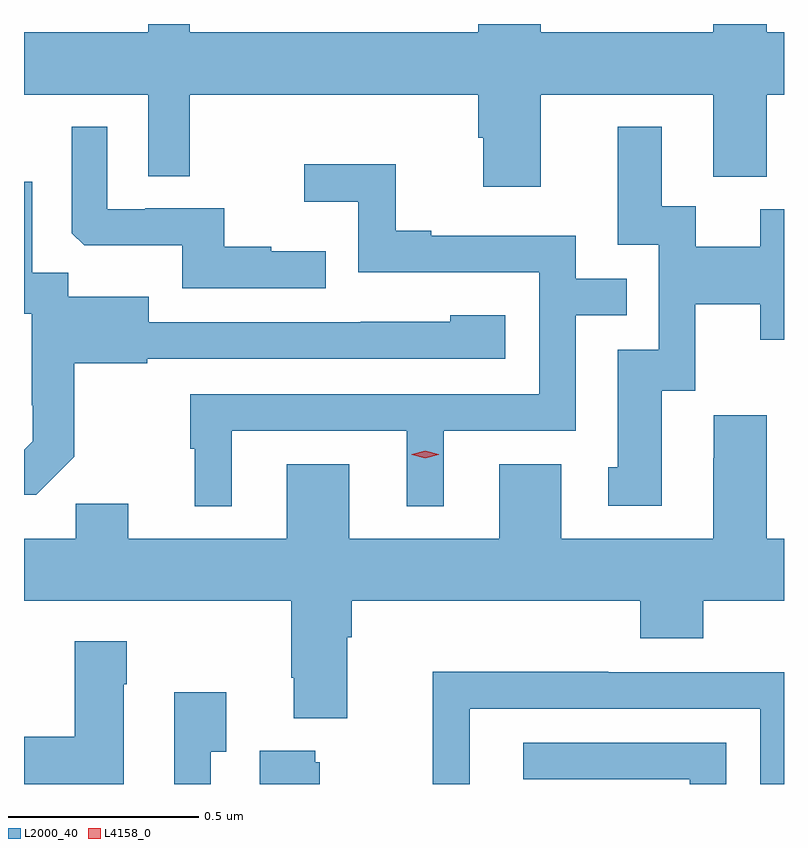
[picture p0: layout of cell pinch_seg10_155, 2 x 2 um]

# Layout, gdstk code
import gdstk
lib = gdstk.Library(unit=1e-6, precision=1e-09)
def P(c, l, *ps):  # polygons
    for p in ps: c.add(gdstk.Polygon(p, *l))
L2000_40 = (2000, 40)
L4158_0 = (4158, 0)

pinch_seg10_155 = lib.new_cell('pinch_seg10_155')
P(pinch_seg10_155, L2000_40, [(763.057,1285.664),(763.511,1285.664),(763.511,1285.448),(763.651,1285.448),(763.651,1285.664),(763.697,1285.664),(763.697,1285.828),(763.651,1285.828),(763.651,1285.85),(763.511,1285.85),(763.511,1285.828),(763.057,1285.828),(763.057,1285.85),(762.893,1285.85),(762.893,1285.828),(762.133,1285.828),(762.133,1285.85),(762.024,1285.85),(762.024,1285.828),(761.697,1285.828),(761.697,1285.664),(762.024,1285.664),(762.024,1285.45),(762.133,1285.45),(762.133,1285.664),(762.893,1285.664),(762.893,1285.551),(762.905,1285.551),(762.905,1285.422),(763.057,1285.422)],
  [(762.491,1285.252),(762.347,1285.252),(762.347,1285.264),(762.224,1285.264),(762.224,1285.365),(762.016,1285.365),(762.016,1285.362),(761.916,1285.362),(761.916,1285.579),(761.823,1285.579),(761.823,1285.299),(761.855,1285.268),(762.114,1285.268),(762.114,1285.155),(762.491,1285.155)],
  [(763.375,1284.885),(763.464,1284.885),(763.464,1285.112),(763.634,1285.112),(763.634,1285.019),(763.697,1285.019),(763.697,1285.363),(763.634,1285.363),(763.634,1285.264),(763.465,1285.264),(763.465,1285.37),(763.375,1285.37),(763.375,1285.579),(763.259,1285.579),(763.259,1285.269),(763.368,1285.269),(763.368,1284.993),(763.259,1284.993),(763.259,1284.684),(763.235,1284.684),(763.235,1284.582),(763.375,1284.582)],
  [(762.244,1284.78),(762.704,1284.78),(762.704,1284.581),(762.802,1284.581),(762.802,1284.78),(763.149,1284.78),(763.149,1285.083),(763.283,1285.083),(763.283,1285.179),(763.149,1285.179),(763.149,1285.293),(762.769,1285.293),(762.769,1285.306),(762.675,1285.306),(762.675,1285.481),(762.435,1285.481),(762.435,1285.382),(762.576,1285.382),(762.576,1285.197),(763.053,1285.197),(763.053,1284.876),(762.135,1284.876),(762.135,1284.732),(762.146,1284.732),(762.146,1284.581),(762.244,1284.581)],
  [(761.829,1284.711),(761.829,1284.957),(762.021,1284.957),(762.021,1284.969),(762.964,1284.969),(762.964,1285.084),(762.819,1285.084),(762.819,1285.066),(762.583,1285.066),(762.583,1285.065),(762.025,1285.065),(762.025,1285.132),(761.814,1285.132),(761.814,1285.196),(761.719,1285.196),(761.719,1285.435),(761.697,1285.435),(761.697,1285.088),(761.718,1285.088),(761.718,1284.847),(761.72,1284.847),(761.72,1284.752),(761.697,1284.729),(761.697,1284.611),(761.729,1284.611)],
  [(762.547,1284.236),(762.56,1284.236),(762.56,1284.332),(763.319,1284.332),(763.319,1284.233),(763.484,1284.233),(763.484,1284.332),(763.697,1284.332),(763.697,1284.496),(763.651,1284.496),(763.651,1284.82),(763.512,1284.82),(763.512,1284.707),(763.511,1284.707),(763.511,1284.496),(763.111,1284.496),(763.111,1284.691),(762.947,1284.691),(762.947,1284.496),(762.553,1284.496),(762.553,1284.691),(762.389,1284.691),(762.389,1284.496),(761.971,1284.496),(761.971,1284.587),(761.833,1284.587),(761.833,1284.496),(761.697,1284.496),(761.697,1284.332),(762.4,1284.332),(762.4,1284.13),(762.407,1284.13),(762.407,1284.023),(762.547,1284.023)],
  [(761.959,1284.113),(761.967,1284.113),(761.967,1284.226),(761.831,1284.226),(761.831,1283.974),(761.697,1283.974),(761.697,1283.85),(761.959,1283.85)],
  [(762.87,1284.048),(763.635,1284.048),(763.635,1283.85),(763.697,1283.85),(763.697,1284.144),(763.235,1284.144),(763.235,1284.146),(762.772,1284.146),(762.772,1283.85),(762.87,1283.85)],
  [(762.189,1283.935),(762.229,1283.935),(762.229,1284.091),(762.092,1284.091),(762.092,1283.85),(762.189,1283.85)],
  [(763.545,1283.958),(763.011,1283.958),(763.011,1283.862),(763.449,1283.862),(763.449,1283.85),(763.545,1283.85)],
  [(762.475,1283.907),(762.464,1283.907),(762.464,1283.938),(762.317,1283.938),(762.317,1283.85),(762.475,1283.85)])
P(pinch_seg10_155, L4158_0, [(762.753,1284.707),(762.717,1284.717),(762.717,1284.717),(762.717,1284.718),(762.753,1284.727),(762.789,1284.718),(762.789,1284.717),(762.789,1284.717)])

lib.write_gds('pinch_seg10_155.gds')
